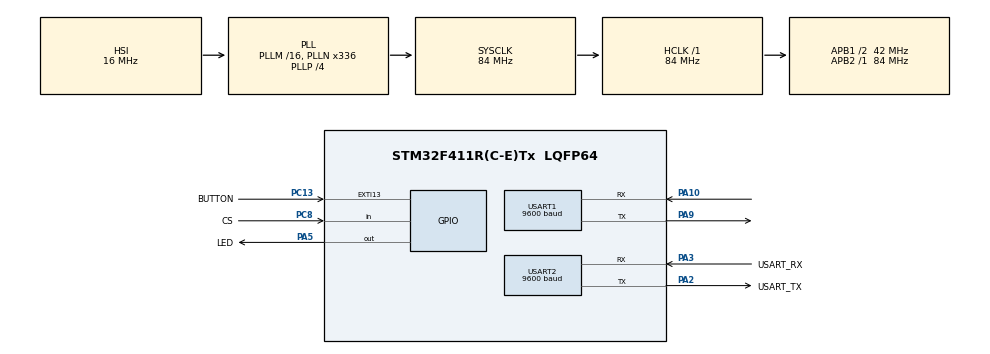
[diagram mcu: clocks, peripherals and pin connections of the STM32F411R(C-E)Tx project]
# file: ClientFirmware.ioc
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Mcu.Family=STM32F4
Mcu.Name=STM32F411R(C-E)Tx
Mcu.Package=LQFP64
NVIC.PriorityGroup=NVIC_PRIORITYGROUP_0
PA10.Mode=Asynchronous
PA10.Signal=USART1_RX
PA13.GPIO_Label=TMS
PA13.Signal=SYS_JTMS-SWDIO
PA14.GPIO_Label=TCK
PA14.Signal=SYS_JTCK-SWCLK
PA2.GPIO_Label=USART_TX
PA2.Mode=Asynchronous
PA2.Signal=USART2_TX
PA3.GPIO_Label=USART_RX
PA3.Mode=Asynchronous
PA3.Signal=USART2_RX
PA5.GPIO_Label=LED
PA5.GPIO_Speed=GPIO_SPEED_FREQ_HIGH
PA5.Signal=GPIO_Output
PA9.Mode=Asynchronous
PA9.Signal=USART1_TX
PB3.GPIO_Label=SWO
PB3.Signal=SYS_JTDO-SWO
PC13-ANTI_TAMP.GPIO_Label=BUTTON
PC13-ANTI_TAMP.GPIO_ModeDefaultEXTI=GPIO_MODE_IT_FALLING
PC13-ANTI_TAMP.Signal=GPXTI13
PC14-OSC32_IN.Signal=RCC_OSC32_IN
PC15-OSC32_OUT.Signal=RCC_OSC32_OUT
PC8.GPIO_Label=CS
PC8.GPIO_PuPd=GPIO_PULLDOWN
PC8.Signal=GPIO_Input
PH0\ -\ OSC_IN.Signal=RCC_OSC_IN
PH1\ -\ OSC_OUT.Signal=RCC_OSC_OUT
ProjectManager.HeapSize=0x200
ProjectManager.StackSize=0x400
ProjectManager.TargetToolchain=STM32CubeIDE
RCC.48MHZClocksFreq_Value=84000000
RCC.AHBFreq_Value=84000000
RCC.APB1CLKDivider=RCC_HCLK_DIV2
RCC.APB1Freq_Value=42000000
RCC.APB1TimFreq_Value=84000000
RCC.APB2Freq_Value=84000000
RCC.APB2TimFreq_Value=84000000
RCC.CortexFreq_Value=84000000
RCC.FLatency-AdvancedSettings=FLASH_LATENCY_2
RCC.HCLKFreq_Value=84000000
RCC.HSE_VALUE=8000000
RCC.HSI_VALUE=16000000
RCC.LSE_VALUE=32768
RCC.PLLN=336
RCC.PLLP=RCC_PLLP_DIV4
RCC.SYSCLKFreq_VALUE=84000000
RCC.SYSCLKSource=RCC_SYSCLKSOURCE_PLLCLK
RCC.VCOOutputFreq_Value=336000000
USART1.BaudRate=9600
USART1.Mode=MODE_RX
USART1.VirtualMode=VM_ASYNC
USART2.BaudRate=9600
USART2.Mode=MODE_TX_RX
USART2.VirtualMode=VM_ASYNC
board=NUCLEO-F411RE

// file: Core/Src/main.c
/* USER CODE BEGIN Header */
/**
  ******************************************************************************
  * @file           : main.c
  * @brief          : Main program body
  ******************************************************************************
  * @attention
  *
  * Copyright (c) 2024 STMicroelectronics.
  * All rights reserved.
  *
  * This software is licensed under terms that can be found in the LICENSE file
  * in the root directory of this software component.
  * If no LICENSE file comes with this software, it is provided AS-IS.
  *
  ******************************************************************************
  */
/* USER CODE END Header */
#include "main.h"
#include "usart.h"
#include "gpio.h"

/* USER CODE BEGIN Includes */
#include "serial.h"
#include "application.h"
/* USER CODE END Includes */

/* USER CODE BEGIN PV */

/* APPLICATION Configuration */
APPLICATION_Config_t m_applicationConfig = {
	.inCS.Port = CS_GPIO_Port,
	.inCS.Pin = CS_Pin,
	.outLED.Port = LED_GPIO_Port,
	.outLED.Pin = LED_Pin
};

/* SERIAL Configuration */
SERIAL_Config_t m_serialConfig = {
	.usart = &huart1
};

/* USER CODE END PV */

void SystemClock_Config(void);

int main(void)
{

  /* MCU Configuration--------------------------------------------------------*/

  /* Reset of all peripherals, Initializes the Flash interface and the Systick. */
  HAL_Init();

  /* Configure the system clock */
  SystemClock_Config();

  /* Initialize all configured peripherals */
  MX_GPIO_Init();
  MX_USART2_UART_Init();
  MX_USART1_UART_Init();
  /* USER CODE BEGIN 2 */

  APPLICATION_Init(&m_applicationConfig);
  SERIAL_Init(&m_serialConfig);

  /* USER CODE END 2 */

  /* Infinite loop */
  /* USER CODE BEGIN WHILE */
  while (1)
  {
	  APPLICATION_Loop();
	  SERIAL_Loop();
    /* USER CODE END WHILE */

  }
}

void SystemClock_Config(void)
{
  RCC_OscInitTypeDef RCC_OscInitStruct = {0};
  RCC_ClkInitTypeDef RCC_ClkInitStruct = {0};

  /** Configure the main internal regulator output voltage
  */
  __HAL_RCC_PWR_CLK_ENABLE();
  __HAL_PWR_VOLTAGESCALING_CONFIG(PWR_REGULATOR_VOLTAGE_SCALE1);

  /** Initializes the RCC Oscillators according to the specified parameters
  * in the RCC_OscInitTypeDef structure.
  */
  RCC_OscInitStruct.OscillatorType = RCC_OSCILLATORTYPE_HSI;
  RCC_OscInitStruct.HSIState = RCC_HSI_ON;
  RCC_OscInitStruct.HSICalibrationValue = RCC_HSICALIBRATION_DEFAULT;
  RCC_OscInitStruct.PLL.PLLState = RCC_PLL_ON;
  RCC_OscInitStruct.PLL.PLLSource = RCC_PLLSOURCE_HSI;
  RCC_OscInitStruct.PLL.PLLM = 16;
  RCC_OscInitStruct.PLL.PLLN = 336;
  RCC_OscInitStruct.PLL.PLLP = RCC_PLLP_DIV4;
  RCC_OscInitStruct.PLL.PLLQ = 4;
  if (HAL_RCC_OscConfig(&RCC_OscInitStruct) != HAL_OK)
  {
    Error_Handler();
  }

  /** Initializes the CPU, AHB and APB buses clocks
  */
  RCC_ClkInitStruct.ClockType = RCC_CLOCKTYPE_HCLK|RCC_CLOCKTYPE_SYSCLK
                              |RCC_CLOCKTYPE_PCLK1|RCC_CLOCKTYPE_PCLK2;
  RCC_ClkInitStruct.SYSCLKSource = RCC_SYSCLKSOURCE_PLLCLK;
  RCC_ClkInitStruct.AHBCLKDivider = RCC_SYSCLK_DIV1;
  RCC_ClkInitStruct.APB1CLKDivider = RCC_HCLK_DIV2;
  RCC_ClkInitStruct.APB2CLKDivider = RCC_HCLK_DIV1;

  if (HAL_RCC_ClockConfig(&RCC_ClkInitStruct, FLASH_LATENCY_2) != HAL_OK)
  {
    Error_Handler();
  }
}

/* USER CODE BEGIN 4 */
/* HAL Generic UART Callback*/
void HAL_UART_RxCpltCallback(UART_HandleTypeDef *huart){
	// Check if is the UART instance of the SERIAL module
	if(huart->Instance == huart1.Instance){
		SERIAL_RX_Callback();
	}
}
/* USER CODE END 4 */

void Error_Handler(void)
{
  __disable_irq();
  while (1)
  {
  }
}
